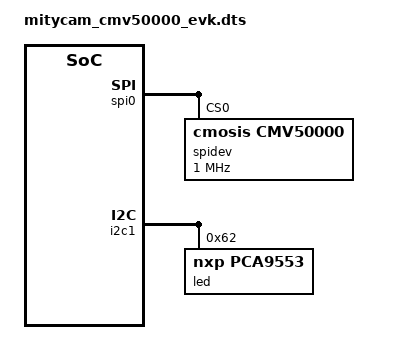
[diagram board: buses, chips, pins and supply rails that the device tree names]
/*
 * Copyright (C) 2014-2015 Altera Corporation <www.altera.com>
 *
 * This program is free software; you can redistribute it and/or modify
 * it under the terms of the GNU General Public License as published by
 * the Free Software Foundation; either version 2 of the License, or
 * (at your option) any later version.
 *
 * This program is distributed in the hope that it will be useful,
 * but WITHOUT ANY WARRANTY; without even the implied warranty of
 * MERCHANTABILITY or FITNESS FOR A PARTICULAR PURPOSE.  See the
 * GNU General Public License for more details.
 *
 * You should have received a copy of the GNU General Public License
 * along with this program.  If not, see <http://www.gnu.org/licenses/>.
 */

/dts-v1/;
#include "mitysom_a10s_dsc.dtsi"

/ {
	soc {
		hps_lw_bus: bus@0ff200000 {
			compatible = "simple-bus";
			reg = <0xFF200000 0x00200000>;
			#address-cells = <1>;
			#size-cells = <1>;
			ranges = <0x0 0xFF200000 0x00200000>;
			status = "okay";

			sysid_qsys: sysid@0000 {
				compatible = "altr,sysid-1.0";
				reg = <0x000000 0x08>;
			};

			/* 40 is zero */
			cmv50000_pio_outs: gpio@1000 {
				compatible = "altr,pio-1.0";
				reg = <0x00001000 0x10>;
				altr,ngpio = <4>;
				interrupts = <0 48 4>;
				altr,interrupt-type = <IRQ_TYPE_EDGE_RISING>;
				#gpio-cells = <2>;
				gpio-controller;
				#interrupt-cells = <1>;
				interrupt-controller;
			};

			cmv50000_pio_ins: gpio@2000 {
				compatible = "altr,pio-1.0";
				reg = <0x00002000 0x10>;
				altr,ngpio = <4>;
				interrupts = <0 47 4>;
				altr,interrupt-type = <IRQ_TYPE_EDGE_RISING>;
				#gpio-cells = <2>;
				gpio-controller;
				#interrupt-cells = <1>;
				interrupt-controller;
			};

		};
	};
};

&spi0 {
	status = "okay";

	/* CMV50K SPI interface */
	spidev@0 {
		compatible = "cmosis,cmv50000";
		spi-max-frequency = <1000000>;
		reg = <0>;
	};

};

&i2c1 {
	status = "okay";

	/* USB IO Tri-Color LED */
	led@62 {
		compatible = "nxp,pca9553";
		reg = <0x62>;
	};

	/* Sensor board */

};


